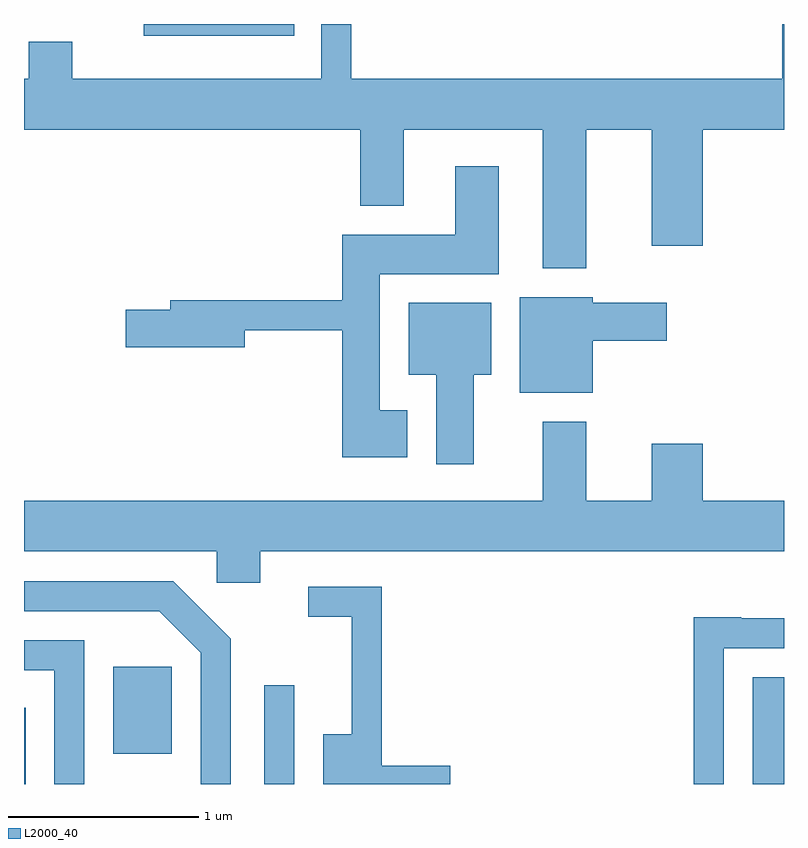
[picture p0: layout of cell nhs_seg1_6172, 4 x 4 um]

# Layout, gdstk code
import gdstk
lib = gdstk.Library(unit=1e-6, precision=1e-09)
def R(c, l, rs):  # rectangles x0, y0, x1, y1
    for r in rs: c.add(gdstk.rectangle(r[:2], r[2:], *l))
def P(c, l, *ps):  # polygons
    for p in ps: c.add(gdstk.Polygon(p, *l))
L2000_40 = (2000, 40)

nhs_seg1_6172 = lib.new_cell('nhs_seg1_6172')
R(nhs_seg1_6172, L2000_40, [(371.611,871.712,371.619,872.113), (372.876,871.712,373.034,872.233), (375.446,871.712,375.611,872.274), (372.081,871.871,372.389,872.329), (372.241,875.651,373.033,875.712)])
P(nhs_seg1_6172, L2000_40, [(374.569,875.156),(374.916,875.156),(374.916,874.546),(375.184,874.546),(375.184,875.156),(375.611,875.156),(375.611,875.712),(375.601,875.712),(375.601,875.424),(373.334,875.424),(373.334,875.712),(373.176,875.712),(373.176,875.424),(371.864,875.424),(371.864,875.619),(371.636,875.619),(371.636,875.424),(371.611,875.424),(371.611,875.156),(373.381,875.156),(373.381,874.756),(373.609,874.756),(373.609,875.156),(374.341,875.156),(374.341,874.426),(374.569,874.426)],
  [(373.629,873.679),(373.484,873.679),(373.484,874.396),(374.109,874.396),(374.109,874.964),(373.881,874.964),(373.881,874.604),(373.286,874.604),(373.286,874.259),(372.381,874.259),(372.381,874.209),(372.146,874.209),(372.146,874.011),(372.774,874.011),(372.774,874.101),(373.286,874.101),(373.286,873.431),(373.629,873.431)],
  [(374.604,874.046),(374.994,874.046),(374.994,874.244),(374.604,874.244),(374.604,874.274),(374.221,874.274),(374.221,873.771),(374.604,873.771)],
  [(373.979,873.866),(374.069,873.866),(374.069,874.244),(373.636,874.244),(373.636,873.866),(373.781,873.866),(373.781,873.396),(373.979,873.396)],
  [(372.854,872.936),(375.611,872.936),(375.611,873.204),(375.184,873.204),(375.184,873.504),(374.916,873.504),(374.916,873.204),(374.569,873.204),(374.569,873.619),(374.341,873.619),(374.341,873.204),(371.611,873.204),(371.611,872.936),(372.626,872.936),(372.626,872.771),(372.854,872.771)],
  [(372.699,872.477),(372.397,872.779),(371.611,872.779),(371.611,872.621),(372.324,872.621),(372.541,872.404),(372.541,871.712),(372.699,871.712)],
  [(373.854,871.809),(373.494,871.809),(373.494,872.749),(373.108,872.749),(373.108,872.591),(373.336,872.591),(373.336,871.974),(373.186,871.974),(373.186,871.712),(373.854,871.712)],
  [(375.294,872.426),(375.611,872.426),(375.611,872.584),(375.385,872.584),(375.385,872.589),(375.136,872.589),(375.136,871.712),(375.294,871.712)],
  [(371.929,872.469),(371.611,872.469),(371.611,872.311),(371.771,872.311),(371.771,871.712),(371.929,871.712)])

lib.write_gds('nhs_seg1_6172.gds')
